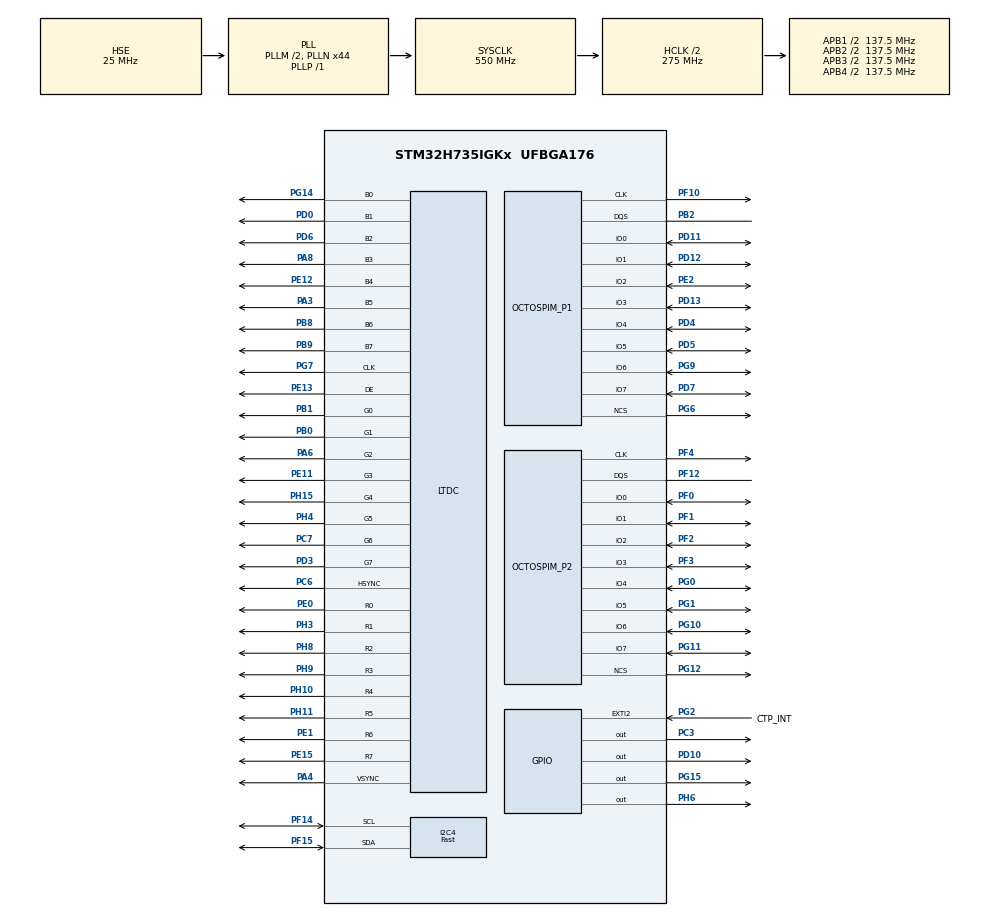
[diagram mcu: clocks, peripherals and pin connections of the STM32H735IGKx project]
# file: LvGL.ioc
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CORTEX_M7.AccessPermission_S-Cortex_Memory_Protection_Unit_Region2_Settings_S=MPU_REGION_FULL_ACCESS
CORTEX_M7.AccessPermission_S-Cortex_Memory_Protection_Unit_Region4_Settings_S=MPU_REGION_FULL_ACCESS
CORTEX_M7.AccessPermission_Spec=MPU_REGION_FULL_ACCESS
CORTEX_M7.BaseAddress_S-Cortex_Memory_Protection_Unit_Region1_Settings_S=0x70000000
CORTEX_M7.BaseAddress_S-Cortex_Memory_Protection_Unit_Region2_Settings_S=0x70000000
CORTEX_M7.BaseAddress_S-Cortex_Memory_Protection_Unit_Region3_Settings_S=0x90000000
CORTEX_M7.BaseAddress_S-Cortex_Memory_Protection_Unit_Region4_Settings_S=0x90000000
CORTEX_M7.BaseAddress_Spec=0x24000000
CORTEX_M7.CPU_DCache=Enabled
CORTEX_M7.CPU_ICache=Enabled
CORTEX_M7.DisableExec_S-Cortex_Memory_Protection_Unit_Region1_Settings_S=MPU_INSTRUCTION_ACCESS_DISABLE
CORTEX_M7.DisableExec_S-Cortex_Memory_Protection_Unit_Region2_Settings_S=MPU_INSTRUCTION_ACCESS_DISABLE
CORTEX_M7.DisableExec_S-Cortex_Memory_Protection_Unit_Region3_Settings_S=MPU_INSTRUCTION_ACCESS_DISABLE
CORTEX_M7.DisableExec_S-Cortex_Memory_Protection_Unit_Region4_Settings_S=MPU_INSTRUCTION_ACCESS_DISABLE
CORTEX_M7.Enable_S-Cortex_Memory_Protection_Unit_Region1_Settings_S=MPU_REGION_ENABLE
CORTEX_M7.Enable_S-Cortex_Memory_Protection_Unit_Region2_Settings_S=MPU_REGION_ENABLE
CORTEX_M7.Enable_S-Cortex_Memory_Protection_Unit_Region3_Settings_S=MPU_REGION_ENABLE
CORTEX_M7.Enable_S-Cortex_Memory_Protection_Unit_Region4_Settings_S=MPU_REGION_ENABLE
CORTEX_M7.IsBufferable_S-Cortex_Memory_Protection_Unit_Region2_Settings_S=MPU_ACCESS_BUFFERABLE
CORTEX_M7.IsBufferable_Spec=MPU_ACCESS_BUFFERABLE
CORTEX_M7.IsCacheable_S-Cortex_Memory_Protection_Unit_Region2_Settings_S=MPU_ACCESS_CACHEABLE
CORTEX_M7.IsCacheable_S-Cortex_Memory_Protection_Unit_Region4_Settings_S=MPU_ACCESS_CACHEABLE
CORTEX_M7.IsCacheable_Spec=MPU_ACCESS_CACHEABLE
CORTEX_M7.IsShareable_Spec=MPU_ACCESS_NOT_SHAREABLE
CORTEX_M7.Size_S-Cortex_Memory_Protection_Unit_Region1_Settings_S=MPU_REGION_SIZE_512MB
CORTEX_M7.Size_S-Cortex_Memory_Protection_Unit_Region2_Settings_S=MPU_REGION_SIZE_8MB
CORTEX_M7.Size_S-Cortex_Memory_Protection_Unit_Region3_Settings_S=MPU_REGION_SIZE_512MB
CORTEX_M7.Size_S-Cortex_Memory_Protection_Unit_Region4_Settings_S=MPU_REGION_SIZE_64MB
CORTEX_M7.Size_Spec=MPU_REGION_SIZE_512KB
CORTEX_M7.default_mode_Activation=1
DMA2D.ColorMode=DMA2D_OUTPUT_RGB888
DMA2D.Mode=DMA2D_M2M
FREERTOS.Tasks01=defaultTask,24,128,StartDefaultTask,Default,NULL,Dynamic,NULL,NULL;LvGLTask,24,4096,LvGLTaskFunc,Default,NULL,Dynamic,NULL,NULL
FREERTOS.configTOTAL_HEAP_SIZE=50000
FREERTOS.configUSE_NEWLIB_REENTRANT=0
I2C4.I2C_Speed_Mode=I2C_Fast
I2C4.Timing=0x00D049FB
LTDC.ActiveH=272
LTDC.ActiveW=480
LTDC.Alpha_L0=255
LTDC.FBStartAdress_L0=ltdc_buffer_addr()
LTDC.HBP=13
LTDC.HFP=32
LTDC.HSync=41
LTDC.ImageHeight_L0=272
LTDC.ImageWidth_L0=480
LTDC.Layers=0
LTDC.PixelFormat_L0=LTDC_PIXEL_FORMAT_ARGB8888
LTDC.VSync=10
LTDC.WindowX1_L0=480
LTDC.WindowY0_L0=0
LTDC.WindowY1_L0=272
Mcu.Family=STM32H7
Mcu.Name=STM32H735IGKx
Mcu.Package=UFBGA176
NVIC.DMA2D_IRQn=true\:5\:0\:false\:false\:true\:true\:true\:true\:true
NVIC.EXTI2_IRQn=true\:5\:0\:false\:false\:true\:true\:true\:true\:true
NVIC.LTDC_IRQn=true\:5\:0\:false\:false\:true\:true\:true\:true\:true
NVIC.PriorityGroup=NVIC_PRIORITYGROUP_4
NVIC.TIM7_IRQn=true\:15\:0\:false\:false\:true\:false\:false\:true\:true
NVIC.TimeBase=TIM7_IRQn
NVIC.TimeBaseIP=TIM7
OCTOSPI1.ChipSelectHighTime=2
OCTOSPI1.ClockPrescaler=2
OCTOSPI1.FifoThreshold=4
OCTOSPI1.MemoryType=HAL_OSPI_MEMTYPE_MACRONIX
OCTOSPI2.AccessTime=6
OCTOSPI2.ChipSelectBoundary=23
OCTOSPI2.ChipSelectHighTime=4
OCTOSPI2.ClockPrescaler=2
OCTOSPI2.DelayBlockBypass=HAL_OSPI_DELAY_BLOCK_USED
OCTOSPI2.DelayHoldQuarterCycle=HAL_OSPI_DHQC_ENABLE
OCTOSPI2.DeviceSize=24
OCTOSPI2.FifoThreshold=4
OCTOSPI2.LatencyMode=HAL_OSPI_FIXED_LATENCY
OCTOSPI2.RWRecoveryTime=3
OCTOSPI2.Refresh=400
OCTOSPI2.WriteZeroLatency=HAL_OSPI_LATENCY_ON_WRITE
PA3.Mode=RGB888
PA3.Signal=LTDC_B5
PA4.Mode=RGB888
PA4.Signal=LTDC_VSYNC
PA6.Mode=RGB888
PA6.Signal=LTDC_G2
PA8.Mode=RGB888
PA8.Signal=LTDC_B3
PB0.Mode=RGB888
PB0.Signal=LTDC_G1
PB1.Mode=RGB888
PB1.Signal=LTDC_G0
PB2.Mode=OCTOSPI1_Port1_DQS
PB2.Signal=OCTOSPIM_P1_DQS
PB8.Mode=RGB888
PB8.Signal=LTDC_B6
PB9.Mode=RGB888
PB9.Signal=LTDC_B7
PC14-OSC32_IN.Mode=LSE-External-Oscillator
PC14-OSC32_IN.Signal=RCC_OSC32_IN
PC15-OSC32_OUT.Mode=LSE-External-Oscillator
PC15-OSC32_OUT.Signal=RCC_OSC32_OUT
PC3.Signal=GPIO_Output
PC6.Mode=RGB888
PC6.Signal=LTDC_HSYNC
PC7.Mode=RGB888
PC7.Signal=LTDC_G6
PD0.Mode=RGB888
PD0.Signal=LTDC_B1
PD10.PinState=GPIO_PIN_SET
PD10.Signal=GPIO_Output
PD11.Mode=OCTOSPI1_IOL_Port1L
PD11.Signal=OCTOSPIM_P1_IO0
PD12.Mode=OCTOSPI1_IOL_Port1L
PD12.Signal=OCTOSPIM_P1_IO1
PD13.Mode=OCTOSPI1_IOL_Port1L
PD13.Signal=OCTOSPIM_P1_IO3
PD3.Mode=RGB888
PD3.Signal=LTDC_G7
PD4.Mode=OCTOSPI1_IOH_Port1H
PD4.Signal=OCTOSPIM_P1_IO4
PD5.Mode=OCTOSPI1_IOH_Port1H
PD5.Signal=OCTOSPIM_P1_IO5
PD6.Mode=RGB888
PD6.Signal=LTDC_B2
PD7.Mode=OCTOSPI1_IOH_Port1H
PD7.Signal=OCTOSPIM_P1_IO7
PE0.Mode=RGB888
PE0.Signal=LTDC_R0
PE1.Mode=RGB888
PE1.Signal=LTDC_R6
PE11.Mode=RGB888
PE11.Signal=LTDC_G3
PE12.Mode=RGB888
PE12.Signal=LTDC_B4
PE13.Mode=RGB888
PE13.Signal=LTDC_DE
PE15.Mode=RGB888
PE15.Signal=LTDC_R7
PE2.Mode=OCTOSPI1_IOL_Port1L
PE2.Signal=OCTOSPIM_P1_IO2
PF0.Mode=OCTOSPI2_IOL_Port2L
PF0.Signal=OCTOSPIM_P2_IO0
PF1.Mode=OCTOSPI2_IOL_Port2L
PF1.Signal=OCTOSPIM_P2_IO1
PF10.Mode=O1_P1_CLK
PF10.Signal=OCTOSPIM_P1_CLK
PF12.Mode=OCTOSPI2_Port2_DQS
PF12.Signal=OCTOSPIM_P2_DQS
PF14.Mode=I2C
PF14.Signal=I2C4_SCL
PF15.Mode=I2C
PF15.Signal=I2C4_SDA
PF2.Mode=OCTOSPI2_IOL_Port2L
PF2.Signal=OCTOSPIM_P2_IO2
PF3.Mode=OCTOSPI2_IOL_Port2L
PF3.Signal=OCTOSPIM_P2_IO3
PF4.Mode=O2_P2_CLK
PF4.Signal=OCTOSPIM_P2_CLK
PG0.Mode=OCTOSPI2_IOH_Port2H
PG0.Signal=OCTOSPIM_P2_IO4
PG1.Mode=OCTOSPI2_IOH_Port2H
PG1.Signal=OCTOSPIM_P2_IO5
PG10.Mode=OCTOSPI2_IOH_Port2H
PG10.Signal=OCTOSPIM_P2_IO6
PG11.Mode=OCTOSPI2_IOH_Port2H
PG11.Signal=OCTOSPIM_P2_IO7
PG12.Mode=OCTOSPI2_Port2_NCS
PG12.Signal=OCTOSPIM_P2_NCS
PG14.Mode=RGB888
PG14.Signal=LTDC_B0
PG15.PinState=GPIO_PIN_SET
PG15.Signal=GPIO_Output
PG2.GPIO_Label=CTP_INT
PG2.Signal=GPXTI2
PG6.Mode=OCTOSPI1_Port1_NCS
PG6.Signal=OCTOSPIM_P1_NCS
PG7.Mode=RGB888
PG7.Signal=LTDC_CLK
PG9.Mode=OCTOSPI1_IOH_Port1H
PG9.Signal=OCTOSPIM_P1_IO6
PH0-OSC_IN.Mode=HSE-External-Oscillator
PH0-OSC_IN.Signal=RCC_OSC_IN
PH1-OSC_OUT.Mode=HSE-External-Oscillator
PH1-OSC_OUT.Signal=RCC_OSC_OUT
PH10.Mode=RGB888
PH10.Signal=LTDC_R4
PH11.Mode=RGB888
PH11.Signal=LTDC_R5
PH15.Mode=RGB888
PH15.Signal=LTDC_G4
PH3.Mode=RGB888
PH3.Signal=LTDC_R1
PH4.Mode=RGB888
PH4.Signal=LTDC_G5
PH6.PinState=GPIO_PIN_SET
PH6.Signal=GPIO_Output
PH8.Mode=RGB888
PH8.Signal=LTDC_R2
PH9.Mode=RGB888
PH9.Signal=LTDC_R3
ProjectManager.HeapSize=0x1000
ProjectManager.StackSize=0x1000
ProjectManager.TargetToolchain=STM32CubeIDE
RCC.ADCFreq_Value=200000000
RCC.APB1Freq_Value=137500000
RCC.APB2Freq_Value=137500000
RCC.APB3Freq_Value=137500000
RCC.APB4Freq_Value=137500000
RCC.CortexFreq_Value=550000000
RCC.D1PPRE=RCC_APB3_DIV2
RCC.D2PPRE1=RCC_APB1_DIV2
RCC.D2PPRE2=RCC_APB2_DIV2
RCC.D3PPRE=RCC_APB4_DIV2
RCC.DIVM1=2
RCC.DIVM2=5
RCC.DIVM3=25
RCC.DIVN1=44
RCC.DIVN2=80
RCC.DIVN3=288
RCC.DIVP1=1
RCC.DIVR3=24
RCC.HCLKFreq_Value=275000000
RCC.HPRE=RCC_HCLK_DIV2
RCC.PLLFRACN=0
RCC.PLLSourceVirtual=RCC_PLLSOURCE_HSE
RCC.QSPICLockSelection=RCC_OSPICLKSOURCE_PLL2
RCC.SYSCLKFreq_VALUE=550000000
RCC.SYSCLKSource=RCC_SYSCLKSOURCE_PLLCLK
RCC.SupplySource=PWR_DIRECT_SMPS_SUPPLY
RCC.USBFreq_Value=275000000
VP_DMA2D_VS_DMA2D.Mode=DMA2D_Activate
VP_FREERTOS_VS_CMSIS_V2.Mode=CMSIS_V2
VP_MEMORYMAP_VS_MEMORYMAP.Mode=CurAppReg
VP_OCTOSPI1_VS_octo.Mode=octo_mode
VP_OCTOSPI2_VS_octo.Mode=hyperbus_mode
VP_RTC_VS_RTC_Activate.Mode=RTC_Enabled
VP_SYS_VS_tim7.Mode=TIM7
board=custom

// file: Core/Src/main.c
/* USER CODE BEGIN Header */
/**
  ******************************************************************************
  * @file           : main.c
  * @brief          : Main program body
  ******************************************************************************
  * @attention
  *
  * Copyright (c) 2025 STMicroelectronics.
  * All rights reserved.
  *
  * This software is licensed under terms that can be found in the LICENSE file
  * in the root directory of this software component.
  * If no LICENSE file comes with this software, it is provided AS-IS.
  *
  ******************************************************************************
  */
/* USER CODE END Header */
#include "main.h"
#include "cmsis_os.h"
#include "dma2d.h"
#include "i2c.h"
#include "ltdc.h"
#include "memorymap.h"
#include "octospi.h"
#include "rtc.h"
#include "gpio.h"

/* USER CODE BEGIN Includes */
#include "lvgl.h"
#include "LCDController.h"
#include "TouchController.h"
#include "demos/lv_demos.h"

/* USER CODE END Includes */

void SystemClock_Config(void);
void PeriphCommonClock_Config(void);
static void MPU_Config(void);
void MX_FREERTOS_Init(void);
/* USER CODE BEGIN PFP */
int test_external_ram(void);
extern void draw_pixel(int x, int y, uint8_t r, uint8_t g, uint8_t b);
/* USER CODE END PFP */

int main(void)
{

  /* MPU Configuration--------------------------------------------------------*/
  MPU_Config();

  /* Enable the CPU Cache */

  /* Enable I-Cache---------------------------------------------------------*/
  SCB_EnableICache();

  /* Enable D-Cache---------------------------------------------------------*/
  SCB_EnableDCache();

  /* MCU Configuration--------------------------------------------------------*/

  /* Reset of all peripherals, Initializes the Flash interface and the Systick. */
  HAL_Init();

  /* Configure the system clock */
  SystemClock_Config();

  /* Configure the peripherals common clocks */
  PeriphCommonClock_Config();

  /* Initialize all configured peripherals */
  MX_GPIO_Init();
  MX_I2C4_Init();
  MX_OCTOSPI1_Init();
  MX_OCTOSPI2_Init();
  MX_LTDC_Init();
  MX_DMA2D_Init();
  MX_RTC_Init();
  /* USER CODE BEGIN 2 */

  /*Intialize the LvGL*/
  lv_init();

  /*Set the tick source for LvGL*/
  lv_tick_set_cb(HAL_GetTick);

  /*Initialize LvGL Display*/
  lv_port_disp_init();

  /*Initialize the touchscreen*/
  lvgl_touchscreen_init();

  /*Start the Demo*/
  //lv_demo_widgets();
  lv_demo_benchmark();
  //lv_demo_music();

  /* USER CODE END 2 */

  /* Init scheduler */
  osKernelInitialize();

  /* Call init function for freertos objects (in cmsis_os2.c) */
  MX_FREERTOS_Init();

  /* Start scheduler */
  osKernelStart();

  /* We should never get here as control is now taken by the scheduler */

  /* Infinite loop */
  while (1)
  {

    /* USER CODE BEGIN 3 */
//	  lv_timer_handler();

  }
  /* USER CODE END 3 */
}

void SystemClock_Config(void)
{
  RCC_OscInitTypeDef RCC_OscInitStruct = {0};
  RCC_ClkInitTypeDef RCC_ClkInitStruct = {0};

  /** Supply configuration update enable
  */
  HAL_PWREx_ConfigSupply(PWR_DIRECT_SMPS_SUPPLY);

  /** Configure the main internal regulator output voltage
  */
  __HAL_PWR_VOLTAGESCALING_CONFIG(PWR_REGULATOR_VOLTAGE_SCALE0);

  while(!__HAL_PWR_GET_FLAG(PWR_FLAG_VOSRDY)) {}

  /** Initializes the RCC Oscillators according to the specified parameters
  * in the RCC_OscInitTypeDef structure.
  */
  RCC_OscInitStruct.OscillatorType = RCC_OSCILLATORTYPE_LSI|RCC_OSCILLATORTYPE_HSE;
  RCC_OscInitStruct.HSEState = RCC_HSE_ON;
  RCC_OscInitStruct.LSIState = RCC_LSI_ON;
  RCC_OscInitStruct.PLL.PLLState = RCC_PLL_ON;
  RCC_OscInitStruct.PLL.PLLSource = RCC_PLLSOURCE_HSE;
  RCC_OscInitStruct.PLL.PLLM = 2;
  RCC_OscInitStruct.PLL.PLLN = 44;
  RCC_OscInitStruct.PLL.PLLP = 1;
  RCC_OscInitStruct.PLL.PLLQ = 2;
  RCC_OscInitStruct.PLL.PLLR = 2;
  RCC_OscInitStruct.PLL.PLLRGE = RCC_PLL1VCIRANGE_3;
  RCC_OscInitStruct.PLL.PLLVCOSEL = RCC_PLL1VCOWIDE;
  RCC_OscInitStruct.PLL.PLLFRACN = 0;
  if (HAL_RCC_OscConfig(&RCC_OscInitStruct) != HAL_OK)
  {
    Error_Handler();
  }

  /** Initializes the CPU, AHB and APB buses clocks
  */
  RCC_ClkInitStruct.ClockType = RCC_CLOCKTYPE_HCLK|RCC_CLOCKTYPE_SYSCLK
                              |RCC_CLOCKTYPE_PCLK1|RCC_CLOCKTYPE_PCLK2
                              |RCC_CLOCKTYPE_D3PCLK1|RCC_CLOCKTYPE_D1PCLK1;
  RCC_ClkInitStruct.SYSCLKSource = RCC_SYSCLKSOURCE_PLLCLK;
  RCC_ClkInitStruct.SYSCLKDivider = RCC_SYSCLK_DIV1;
  RCC_ClkInitStruct.AHBCLKDivider = RCC_HCLK_DIV2;
  RCC_ClkInitStruct.APB3CLKDivider = RCC_APB3_DIV2;
  RCC_ClkInitStruct.APB1CLKDivider = RCC_APB1_DIV2;
  RCC_ClkInitStruct.APB2CLKDivider = RCC_APB2_DIV2;
  RCC_ClkInitStruct.APB4CLKDivider = RCC_APB4_DIV2;

  if (HAL_RCC_ClockConfig(&RCC_ClkInitStruct, FLASH_LATENCY_3) != HAL_OK)
  {
    Error_Handler();
  }
}

void PeriphCommonClock_Config(void)
{
  RCC_PeriphCLKInitTypeDef PeriphClkInitStruct = {0};

  /** Initializes the peripherals clock
  */
  PeriphClkInitStruct.PeriphClockSelection = RCC_PERIPHCLK_OSPI;
  PeriphClkInitStruct.PLL2.PLL2M = 5;
  PeriphClkInitStruct.PLL2.PLL2N = 80;
  PeriphClkInitStruct.PLL2.PLL2P = 2;
  PeriphClkInitStruct.PLL2.PLL2Q = 2;
  PeriphClkInitStruct.PLL2.PLL2R = 2;
  PeriphClkInitStruct.PLL2.PLL2RGE = RCC_PLL2VCIRANGE_2;
  PeriphClkInitStruct.PLL2.PLL2VCOSEL = RCC_PLL2VCOWIDE;
  PeriphClkInitStruct.PLL2.PLL2FRACN = 0;
  PeriphClkInitStruct.OspiClockSelection = RCC_OSPICLKSOURCE_PLL2;
  if (HAL_RCCEx_PeriphCLKConfig(&PeriphClkInitStruct) != HAL_OK)
  {
    Error_Handler();
  }
}

/* USER CODE BEGIN 4 */
#define EXT_RAM_START  ((uint32_t*)0x70000000)  // Adjust based on your memory mapping
#define EXT_RAM_SIZE   (1024)            // 1MB for testing

int test_external_ram(void)
{
    volatile uint32_t *ram = EXT_RAM_START;
    uint32_t i, temp;

    // **Write test pattern**
    for (i = 0; i < (EXT_RAM_SIZE / sizeof(uint32_t)); i++) {
        ram[i] = i;
    }

    // **Read and verify**
    for (i = 0; i < (EXT_RAM_SIZE / sizeof(uint32_t)); i++) {
        temp = ram[i];
        if (temp != i) {
            return -1; // Error
        }
    }

    return 0; // Success
}
/* USER CODE END 4 */

 /* MPU Configuration */

void MPU_Config(void)
{
  MPU_Region_InitTypeDef MPU_InitStruct = {0};

  /* Disables the MPU */
  HAL_MPU_Disable();

  /** Initializes and configures the Region and the memory to be protected
  */
  MPU_InitStruct.Enable = MPU_REGION_ENABLE;
  MPU_InitStruct.Number = MPU_REGION_NUMBER0;
  MPU_InitStruct.BaseAddress = 0x24000000;
  MPU_InitStruct.Size = MPU_REGION_SIZE_512KB;
  MPU_InitStruct.SubRegionDisable = 0x87;
  MPU_InitStruct.TypeExtField = MPU_TEX_LEVEL0;
  MPU_InitStruct.AccessPermission = MPU_REGION_FULL_ACCESS;
  MPU_InitStruct.DisableExec = MPU_INSTRUCTION_ACCESS_DISABLE;
  MPU_InitStruct.IsShareable = MPU_ACCESS_NOT_SHAREABLE;
  MPU_InitStruct.IsCacheable = MPU_ACCESS_CACHEABLE;
  MPU_InitStruct.IsBufferable = MPU_ACCESS_BUFFERABLE;

  HAL_MPU_ConfigRegion(&MPU_InitStruct);

  /** Initializes and configures the Region and the memory to be protected
  */
  MPU_InitStruct.Number = MPU_REGION_NUMBER1;
  MPU_InitStruct.BaseAddress = 0x70000000;
  MPU_InitStruct.Size = MPU_REGION_SIZE_512MB;
  MPU_InitStruct.SubRegionDisable = 0x0;
  MPU_InitStruct.AccessPermission = MPU_REGION_NO_ACCESS;
  MPU_InitStruct.IsCacheable = MPU_ACCESS_NOT_CACHEABLE;
  MPU_InitStruct.IsBufferable = MPU_ACCESS_NOT_BUFFERABLE;

  HAL_MPU_ConfigRegion(&MPU_InitStruct);

  /** Initializes and configures the Region and the memory to be protected
  */
  MPU_InitStruct.Number = MPU_REGION_NUMBER2;
  MPU_InitStruct.Size = MPU_REGION_SIZE_8MB;
  MPU_InitStruct.AccessPermission = MPU_REGION_FULL_ACCESS;
  MPU_InitStruct.IsCacheable = MPU_ACCESS_CACHEABLE;
  MPU_InitStruct.IsBufferable = MPU_ACCESS_BUFFERABLE;

  HAL_MPU_ConfigRegion(&MPU_InitStruct);

  /** Initializes and configures the Region and the memory to be protected
  */
  MPU_InitStruct.Number = MPU_REGION_NUMBER3;
  MPU_InitStruct.BaseAddress = 0x90000000;
  MPU_InitStruct.Size = MPU_REGION_SIZE_512MB;
  MPU_InitStruct.AccessPermission = MPU_REGION_NO_ACCESS;
  MPU_InitStruct.IsCacheable = MPU_ACCESS_NOT_CACHEABLE;
  MPU_InitStruct.IsBufferable = MPU_ACCESS_NOT_BUFFERABLE;

  HAL_MPU_ConfigRegion(&MPU_InitStruct);

  /** Initializes and configures the Region and the memory to be protected
  */
  MPU_InitStruct.Number = MPU_REGION_NUMBER4;
  MPU_InitStruct.Size = MPU_REGION_SIZE_64MB;
  MPU_InitStruct.AccessPermission = MPU_REGION_FULL_ACCESS;
  MPU_InitStruct.IsCacheable = MPU_ACCESS_CACHEABLE;

  HAL_MPU_ConfigRegion(&MPU_InitStruct);
  /* Enables the MPU */
  HAL_MPU_Enable(MPU_PRIVILEGED_DEFAULT);

}

void HAL_TIM_PeriodElapsedCallback(TIM_HandleTypeDef *htim)
{
  if (htim->Instance == TIM7) {
    HAL_IncTick();
  }
}

void Error_Handler(void)
{
  /* USER CODE BEGIN Error_Handler_Debug */
  /* User can add his own implementation to report the HAL error return state */
  __disable_irq();
  while (1)
  {

	  //for (volatile uint32_t i=0;i<100000000;i++);

  }
  /* USER CODE END Error_Handler_Debug */
}

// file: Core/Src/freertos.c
/* USER CODE BEGIN Header */
/**
  ******************************************************************************
  * File Name          : freertos.c
  * Description        : Code for freertos applications
  ******************************************************************************
  * @attention
  *
  * Copyright (c) 2025 STMicroelectronics.
  * All rights reserved.
  *
  * This software is licensed under terms that can be found in the LICENSE file
  * in the root directory of this software component.
  * If no LICENSE file comes with this software, it is provided AS-IS.
  *
  ******************************************************************************
  */
/* USER CODE END Header */

#include "FreeRTOS.h"
#include "task.h"
#include "main.h"
#include "cmsis_os.h"

/* USER CODE BEGIN Includes */
#include "lvgl.h"
/* USER CODE END Includes */

/* Definitions for defaultTask */
osThreadId_t defaultTaskHandle;
const osThreadAttr_t defaultTask_attributes = {
  .name = "defaultTask",
  .stack_size = 128 * 4,
  .priority = (osPriority_t) osPriorityNormal,
};
/* Definitions for LvGLTask */
osThreadId_t LvGLTaskHandle;
const osThreadAttr_t LvGLTask_attributes = {
  .name = "LvGLTask",
  .stack_size = 4096 * 4,
  .priority = (osPriority_t) osPriorityNormal,
};

void StartDefaultTask(void *argument);
void LvGLTaskFunc(void *argument);

void MX_FREERTOS_Init(void); /* (MISRA C 2004 rule 8.1) */

void MX_FREERTOS_Init(void) {

  /* Create the thread(s) */
  /* creation of defaultTask */
  defaultTaskHandle = osThreadNew(StartDefaultTask, NULL, &defaultTask_attributes);

  /* creation of LvGLTask */
  LvGLTaskHandle = osThreadNew(LvGLTaskFunc, NULL, &LvGLTask_attributes);

}

void StartDefaultTask(void *argument)
{
  /* USER CODE BEGIN StartDefaultTask */
  /* Infinite loop */
  for(;;)
  {
	HAL_GPIO_TogglePin(GPIOC, GPIO_PIN_3);
    osDelay(1000);
  }
  /* USER CODE END StartDefaultTask */
}

void LvGLTaskFunc(void *argument)
{
  /* USER CODE BEGIN LvGLTaskFunc */
  /* Infinite loop */
  for(;;)
  {
	lv_timer_handler();
    osDelay(1);
  }
  /* USER CODE END LvGLTaskFunc */
}
